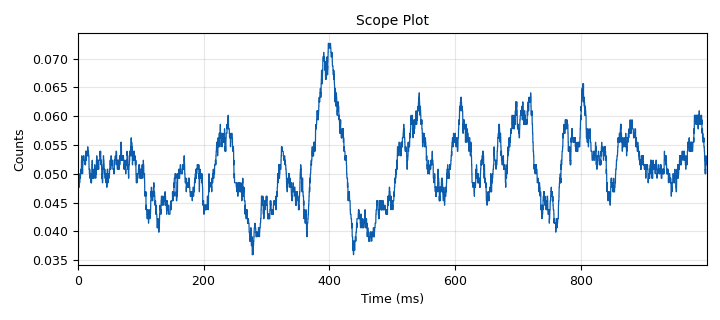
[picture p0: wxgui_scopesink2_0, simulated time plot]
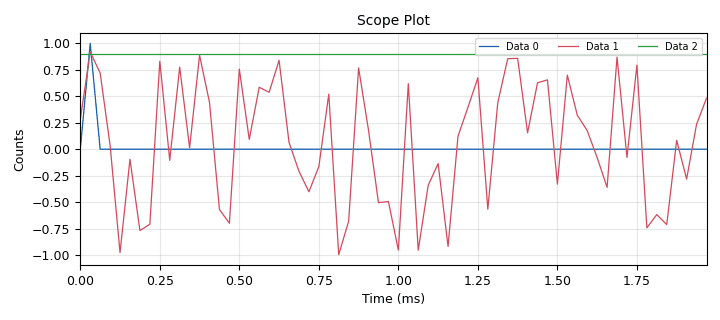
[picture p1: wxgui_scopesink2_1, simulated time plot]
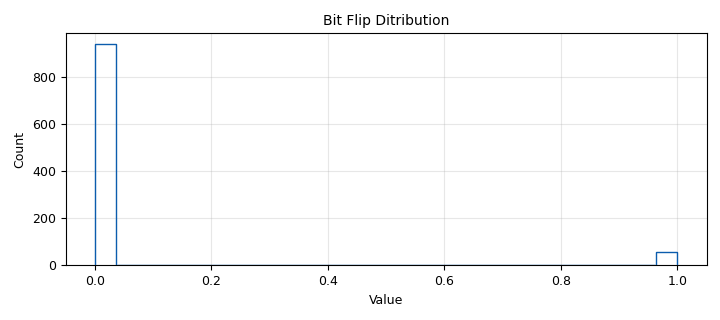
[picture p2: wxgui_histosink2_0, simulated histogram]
<?xml version='1.0' encoding='utf-8'?>
<flow_graph>
<block>
<key>options</key>
<param><key>id</key><value>ber_test</value></param>
<param><key>generate_options</key><value>wx_gui</value></param>
<param><key>category</key><value>Custom</value></param>
</block>
<block>
<key>digital_glfsr_source_x</key>
<param><key>id</key><value>digital_glfsr_source_x_0</value></param>
<param><key>type</key><value>byte</value></param>
<param><key>degree</key><value>6</value></param>
<param><key>repeat</key><value>True</value></param>
<param><key>mask</key><value>0</value></param>
<param><key>seed</key><value>1</value></param>
</block>
<block>
<key>analog_noise_source_x</key>
<param><key>id</key><value>analog_noise_source_x_0</value></param>
<param><key>type</key><value>float</value></param>
<param><key>noise_type</key><value>analog.GR_UNIFORM</value></param>
<param><key>amp</key><value>1</value></param>
<param><key>seed</key><value>42</value></param>
</block>
<block>
<key>notebook</key>
<param><key>id</key><value>nb</value></param>
<param><key>style</key><value>wx.NB_TOP</value></param>
<param><key>labels</key><value>['Flips', 'Histo', 'Error']</value></param>
</block>
<block>
<key>variable_slider</key>
<param><key>id</key><value>thresh</value></param>
<param><key>label</key><value></value></param>
<param><key>value</key><value>900e-3</value></param>
<param><key>min</key><value>0</value></param>
<param><key>max</key><value>1</value></param>
<param><key>num_steps</key><value>100</value></param>
<param><key>style</key><value>wx.SL_HORIZONTAL</value></param>
<param><key>converver</key><value>float_converter</value></param>
</block>
<block>
<key>blocks_threshold_ff</key>
<param><key>id</key><value>blocks_threshold_ff_0</value></param>
<param><key>low</key><value>thresh</value></param>
<param><key>high</key><value>thresh</value></param>
<param><key>init</key><value>0</value></param>
</block>
<block>
<key>blocks_throttle</key>
<param><key>id</key><value>blocks_throttle_1</value></param>
<param><key>type</key><value>float</value></param>
<param><key>samples_per_second</key><value>samp_rate</value></param>
</block>
<block>
<key>blocks_throttle</key>
<param><key>id</key><value>blocks_throttle_2</value></param>
<param><key>type</key><value>float</value></param>
<param><key>samples_per_second</key><value>samp_rate</value></param>
</block>
<block>
<key>variable</key>
<param><key>id</key><value>samp_rate</value></param>
<param><key>value</key><value>32000</value></param>
</block>
<block>
<key>analog_const_source_x</key>
<param><key>id</key><value>analog_const_source_x_0</value></param>
<param><key>type</key><value>float</value></param>
<param><key>const</key><value>thresh</value></param>
</block>
<block>
<key>wxgui_numbersink2</key>
<param><key>id</key><value>wxgui_numbersink2_0</value></param>
<param><key>type</key><value>float</value></param>
<param><key>title</key><value>Error Rate</value></param>
<param><key>units</key><value></value></param>
<param><key>samp_rate</key><value>samp_rate</value></param>
<param><key>min_value</key><value>0</value></param>
<param><key>max_value</key><value>1</value></param>
<param><key>factor</key><value>1.0</value></param>
<param><key>decimal_places</key><value>6</value></param>
<param><key>ref_level</key><value>0</value></param>
<param><key>number_rate</key><value>15</value></param>
<param><key>peak_hold</key><value>False</value></param>
<param><key>average</key><value>False</value></param>
<param><key>avg_alpha</key><value>0</value></param>
<param><key>show_gauge</key><value>True</value></param>
</block>
<block>
<key>wxgui_scopesink2</key>
<param><key>id</key><value>wxgui_scopesink2_0</value></param>
<param><key>type</key><value>float</value></param>
<param><key>title</key><value>Scope Plot</value></param>
<param><key>samp_rate</key><value>samp_rate</value></param>
<param><key>v_scale</key><value>200e-3</value></param>
<param><key>v_offset</key><value>100e-3</value></param>
<param><key>t_scale</key><value>100e-3</value></param>
<param><key>ac_couple</key><value>False</value></param>
<param><key>xy_mode</key><value>False</value></param>
<param><key>num_inputs</key><value>1</value></param>
<param><key>notebook</key><value>nb,2</value></param>
<param><key>trig_mode</key><value>wxgui.TRIG_MODE_AUTO</value></param>
<param><key>y_axis_label</key><value>Counts</value></param>
</block>
<block>
<key>wxgui_scopesink2</key>
<param><key>id</key><value>wxgui_scopesink2_1</value></param>
<param><key>type</key><value>float</value></param>
<param><key>title</key><value>Scope Plot</value></param>
<param><key>samp_rate</key><value>samp_rate</value></param>
<param><key>v_scale</key><value>500e-3</value></param>
<param><key>v_offset</key><value>0</value></param>
<param><key>t_scale</key><value>0</value></param>
<param><key>ac_couple</key><value>False</value></param>
<param><key>xy_mode</key><value>False</value></param>
<param><key>num_inputs</key><value>3</value></param>
<param><key>notebook</key><value>nb,0</value></param>
<param><key>trig_mode</key><value>wxgui.TRIG_MODE_AUTO</value></param>
<param><key>y_axis_label</key><value>Counts</value></param>
</block>
<block>
<key>wxgui_histosink2</key>
<param><key>id</key><value>wxgui_histosink2_0</value></param>
<param><key>title</key><value>Bit Flip Ditribution</value></param>
<param><key>num_bins</key><value>27</value></param>
<param><key>frame_size</key><value>1000</value></param>
<param><key>win_size</key><value>640, 240</value></param>
<param><key>notebook</key><value>nb, 0</value></param>
</block>
<block>
<key>blks2_error_rate</key>
<param><key>id</key><value>blks2_error_rate_0</value></param>
<param><key>type</key><value>'BER'</value></param>
<param><key>win_size</key><value>1280</value></param>
<param><key>bits_per_symbol</key><value>1</value></param>
</block>
<block>
<key>blocks_throttle</key>
<param><key>id</key><value>blocks_throttle_0</value></param>
<param><key>type</key><value>byte</value></param>
<param><key>samples_per_second</key><value>samp_rate</value></param>
</block>
<block>
<key>blocks_xor_xx</key>
<param><key>id</key><value>blocks_xor_xx_0</value></param>
<param><key>type</key><value>byte</value></param>
</block>
<block>
<key>blocks_float_to_char</key>
<param><key>id</key><value>blocks_float_to_char_0</value></param>
<param><key>scale</key><value>1</value></param>
</block>
<connection><source_block_id>digital_glfsr_source_x_0</source_block_id><sink_block_id>blocks_throttle_0</sink_block_id><source_key>0</source_key><sink_key>0</sink_key></connection>
<connection><source_block_id>blocks_throttle_0</source_block_id><sink_block_id>blks2_error_rate_0</sink_block_id><source_key>0</source_key><sink_key>0</sink_key></connection>
<connection><source_block_id>blks2_error_rate_0</source_block_id><sink_block_id>wxgui_numbersink2_0</sink_block_id><source_key>0</source_key><sink_key>0</sink_key></connection>
<connection><source_block_id>blks2_error_rate_0</source_block_id><sink_block_id>wxgui_scopesink2_0</sink_block_id><source_key>0</source_key><sink_key>0</sink_key></connection>
<connection><source_block_id>analog_noise_source_x_0</source_block_id><sink_block_id>blocks_throttle_1</sink_block_id><source_key>0</source_key><sink_key>0</sink_key></connection>
<connection><source_block_id>blocks_throttle_1</source_block_id><sink_block_id>blocks_threshold_ff_0</sink_block_id><source_key>0</source_key><sink_key>0</sink_key></connection>
<connection><source_block_id>analog_const_source_x_0</source_block_id><sink_block_id>blocks_throttle_2</sink_block_id><source_key>0</source_key><sink_key>0</sink_key></connection>
<connection><source_block_id>blocks_throttle_1</source_block_id><sink_block_id>wxgui_scopesink2_1</sink_block_id><source_key>0</source_key><sink_key>1</sink_key></connection>
<connection><source_block_id>blocks_throttle_2</source_block_id><sink_block_id>wxgui_scopesink2_1</sink_block_id><source_key>0</source_key><sink_key>2</sink_key></connection>
<connection><source_block_id>blocks_threshold_ff_0</source_block_id><sink_block_id>wxgui_scopesink2_1</sink_block_id><source_key>0</source_key><sink_key>0</sink_key></connection>
<connection><source_block_id>blocks_threshold_ff_0</source_block_id><sink_block_id>wxgui_histosink2_0</sink_block_id><source_key>0</source_key><sink_key>0</sink_key></connection>
<connection><source_block_id>blocks_xor_xx_0</source_block_id><sink_block_id>blks2_error_rate_0</sink_block_id><source_key>0</source_key><sink_key>1</sink_key></connection>
<connection><source_block_id>blocks_threshold_ff_0</source_block_id><sink_block_id>blocks_float_to_char_0</sink_block_id><source_key>0</source_key><sink_key>0</sink_key></connection>
<connection><source_block_id>blocks_float_to_char_0</source_block_id><sink_block_id>blocks_xor_xx_0</sink_block_id><source_key>0</source_key><sink_key>1</sink_key></connection>
<connection><source_block_id>blocks_throttle_0</source_block_id><sink_block_id>blocks_xor_xx_0</sink_block_id><source_key>0</source_key><sink_key>0</sink_key></connection>
</flow_graph>
